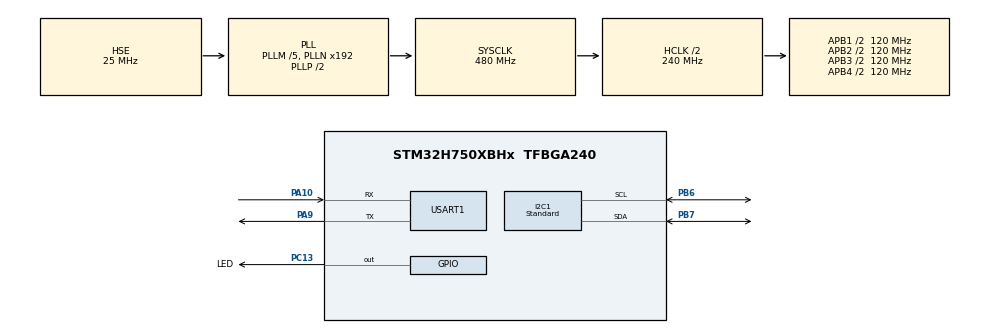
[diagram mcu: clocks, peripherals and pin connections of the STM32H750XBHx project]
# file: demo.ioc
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CORTEX_M7.default_mode_Activation=1
I2C1.CustomTiming=Disabled
I2C1.I2C_Speed_Mode=I2C_Standard
I2C1.Timing=0x307075B1
Mcu.Family=STM32H7
Mcu.Name=STM32H750XBHx
Mcu.Package=TFBGA240
NVIC.PriorityGroup=NVIC_PRIORITYGROUP_4
PA10.Mode=Asynchronous
PA10.Signal=USART1_RX
PA13\ (JTMS/SWDIO).Mode=Serial_Wire
PA13\ (JTMS/SWDIO).Signal=DEBUG_JTMS-SWDIO
PA14\ (JTCK/SWCLK).Mode=Serial_Wire
PA14\ (JTCK/SWCLK).Signal=DEBUG_JTCK-SWCLK
PA9.Mode=Asynchronous
PA9.Signal=USART1_TX
PB6.GPIO_Mode=GPIO_MODE_AF_OD
PB6.GPIO_Pu=GPIO_PULLUP
PB6.GPIO_Speed=GPIO_SPEED_FREQ_VERY_HIGH
PB6.Mode=I2C
PB6.Signal=I2C1_SCL
PB7.GPIO_Mode=GPIO_MODE_AF_OD
PB7.GPIO_Pu=GPIO_PULLUP
PB7.GPIO_Speed=GPIO_SPEED_FREQ_VERY_HIGH
PB7.Mode=I2C
PB7.Signal=I2C1_SDA
PC13.GPIO_Label=LED
PC13.GPIO_PuPd=GPIO_PULLUP
PC13.PinState=GPIO_PIN_SET
PC13.Signal=GPIO_Output
PH0-OSC_IN\ (PH0).Mode=HSE-External-Oscillator
PH0-OSC_IN\ (PH0).Signal=RCC_OSC_IN
PH1-OSC_OUT\ (PH1).Mode=HSE-External-Oscillator
PH1-OSC_OUT\ (PH1).Signal=RCC_OSC_OUT
ProjectManager.HeapSize=0x200
ProjectManager.StackSize=0x400
ProjectManager.TargetToolchain=MDK-ARM V5.32
RCC.ADCFreq_Value=50390625
RCC.APB1Freq_Value=120000000
RCC.APB2Freq_Value=120000000
RCC.APB3Freq_Value=120000000
RCC.APB4Freq_Value=120000000
RCC.CortexFreq_Value=480000000
RCC.D1PPRE=RCC_APB3_DIV2
RCC.D2PPRE1=RCC_APB1_DIV2
RCC.D2PPRE2=RCC_APB2_DIV2
RCC.D3PPRE=RCC_APB4_DIV2
RCC.DIVM1=5
RCC.DIVN1=192
RCC.HCLKFreq_Value=240000000
RCC.HPRE=RCC_HCLK_DIV2
RCC.PLL2FRACN=0
RCC.PLL3FRACN=0
RCC.PLLFRACN=0
RCC.PLLSourceVirtual=RCC_PLLSOURCE_HSE
RCC.PWR_Regulator_Voltage_Scale=PWR_REGULATOR_VOLTAGE_SCALE0
RCC.SYSCLKFreq_VALUE=480000000
RCC.SYSCLKSource=RCC_SYSCLKSOURCE_PLLCLK
RCC.USBFreq_Value=480000000
USART1.VirtualMode-Asynchronous=VM_ASYNC
board=custom

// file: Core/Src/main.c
/* USER CODE BEGIN Header */
/**
 ******************************************************************************
 * @file           : main.c
 * @brief          : Main program body
 ******************************************************************************
 * @attention
 *
 * Copyright (c) 2023 STMicroelectronics.
 * All rights reserved.
 *
 * This software is licensed under terms that can be found in the LICENSE file
 * in the root directory of this software component.
 * If no LICENSE file comes with this software, it is provided AS-IS.
 *
 ******************************************************************************
 */
/* USER CODE END Header */
#include "main.h"
#include "i2c.h"
#include "usart.h"
#include "gpio.h"

/* USER CODE BEGIN Includes */
#include "bsp.h"
#include "shell/port.h"
/* USER CODE END Includes */

void        SystemClock_Config(void);
static void MPU_Config(void);

/* USER CODE BEGIN 0 */

int blink(shell_t* shell, int argc, char** argv)
{
    if (argc != 2)
    {
        shell_info(shell,
                   "Usage: %s STATE\n"
                   " STATE is one of "
                   " - 0: off\n"
                   " - 1: on\n"
                   " - 2: toggle\n",
                   argv[0]);
        return -1;
    }

    uint8_t state = atoi(argv[1]);

    switch (state)
    {
        case 0: {
            LED_OFF();
            break;
        }

        case 1: {
            LED_ON();
            break;
        }
        case 2: {
            LED_TGL();
            break;
        }
    }

    return 0;
}

CMD_EXPORT_FUNC(CMD_TYPE(CMD_TYPE_FUNC_MAIN), led, blink, led control)

int8_t m_log = 0;
CMD_EXPORT_VAR(CMD_TYPE(CMD_TYPE_VAR_INT8) | CMD_VAR_RW(CMD_RW), log, &m_log, say hello world)

/* USER CODE END 0 */

int main(void)
{

    /* MPU Configuration--------------------------------------------------------*/
    MPU_Config();

    /* MCU Configuration--------------------------------------------------------*/

    /* Reset of all peripherals, Initializes the Flash interface and the Systick. */
    HAL_Init();

    /* Configure the system clock */
    SystemClock_Config();

    /* Initialize all configured peripherals */
    MX_GPIO_Init();
    MX_USART1_UART_Init();
    MX_I2C1_Init();
    /* USER CODE BEGIN 2 */
    shell_setup();

    // shell_argtst_exec("10e2");   // int
    // shell_argtst_exec("10e+2");  // int
    // shell_argtst_exec("10e-2");  // fp

    // shell_argtst_exec("0e");    // int = 0
    // shell_argtst_exec("0e6");   // int = 0
    // shell_argtst_exec("0e+6");  // int = 0
    // shell_argtst_exec("0e-6");  // int = 0

    // shell_argtst_exec("00.456e");    // str
    // shell_argtst_exec("00.456e2");   // str
    // shell_argtst_exec("00.456e+2");  // str
    // shell_argtst_exec("00.456e-2");  // str

    // shell_argtst_exec("0.456e");      // str
    // shell_argtst_exec("0.456e2");     // fp
    // shell_argtst_exec("0.456e+2");    // fp
    // shell_argtst_exec("0.456e-2");    // fp
    // shell_argtst_exec("123.456e2");   // fp
    // shell_argtst_exec("123.456e+2");  // fp
    // shell_argtst_exec("123.456e-2");  // fp

    /* USER CODE END 2 */

    /* Infinite loop */
    /* USER CODE BEGIN WHILE */
    while (1)
    {
        shell_task();

        if (m_log)
        {
            m_log = 0;
            shell_log(shell_get(), "hello world\n");
        }

        /* USER CODE END WHILE */

    }
}

void SystemClock_Config(void)
{
    RCC_OscInitTypeDef RCC_OscInitStruct = {0};
    RCC_ClkInitTypeDef RCC_ClkInitStruct = {0};

    /** Supply configuration update enable
     */
    HAL_PWREx_ConfigSupply(PWR_LDO_SUPPLY);

    /** Configure the main internal regulator output voltage
     */
    __HAL_PWR_VOLTAGESCALING_CONFIG(PWR_REGULATOR_VOLTAGE_SCALE1);

    while (!__HAL_PWR_GET_FLAG(PWR_FLAG_VOSRDY)) {}

    __HAL_RCC_SYSCFG_CLK_ENABLE();
    __HAL_PWR_VOLTAGESCALING_CONFIG(PWR_REGULATOR_VOLTAGE_SCALE0);

    while (!__HAL_PWR_GET_FLAG(PWR_FLAG_VOSRDY)) {}

    /** Initializes the RCC Oscillators according to the specified parameters
     * in the RCC_OscInitTypeDef structure.
     */
    RCC_OscInitStruct.OscillatorType = RCC_OSCILLATORTYPE_HSE;
    RCC_OscInitStruct.HSEState       = RCC_HSE_ON;
    RCC_OscInitStruct.PLL.PLLState   = RCC_PLL_ON;
    RCC_OscInitStruct.PLL.PLLSource  = RCC_PLLSOURCE_HSE;
    RCC_OscInitStruct.PLL.PLLM       = 5;
    RCC_OscInitStruct.PLL.PLLN       = 192;
    RCC_OscInitStruct.PLL.PLLP       = 2;
    RCC_OscInitStruct.PLL.PLLQ       = 2;
    RCC_OscInitStruct.PLL.PLLR       = 2;
    RCC_OscInitStruct.PLL.PLLRGE     = RCC_PLL1VCIRANGE_2;
    RCC_OscInitStruct.PLL.PLLVCOSEL  = RCC_PLL1VCOWIDE;
    RCC_OscInitStruct.PLL.PLLFRACN   = 0;
    if (HAL_RCC_OscConfig(&RCC_OscInitStruct) != HAL_OK)
    {
        Error_Handler();
    }

    /** Initializes the CPU, AHB and APB buses clocks
     */
    RCC_ClkInitStruct.ClockType      = RCC_CLOCKTYPE_HCLK | RCC_CLOCKTYPE_SYSCLK | RCC_CLOCKTYPE_PCLK1 | RCC_CLOCKTYPE_PCLK2 | RCC_CLOCKTYPE_D3PCLK1 | RCC_CLOCKTYPE_D1PCLK1;
    RCC_ClkInitStruct.SYSCLKSource   = RCC_SYSCLKSOURCE_PLLCLK;
    RCC_ClkInitStruct.SYSCLKDivider  = RCC_SYSCLK_DIV1;
    RCC_ClkInitStruct.AHBCLKDivider  = RCC_HCLK_DIV2;
    RCC_ClkInitStruct.APB3CLKDivider = RCC_APB3_DIV2;
    RCC_ClkInitStruct.APB1CLKDivider = RCC_APB1_DIV2;
    RCC_ClkInitStruct.APB2CLKDivider = RCC_APB2_DIV2;
    RCC_ClkInitStruct.APB4CLKDivider = RCC_APB4_DIV2;

    if (HAL_RCC_ClockConfig(&RCC_ClkInitStruct, FLASH_LATENCY_4) != HAL_OK)
    {
        Error_Handler();
    }
}

/* MPU Configuration */

void MPU_Config(void)
{
    MPU_Region_InitTypeDef MPU_InitStruct = {0};

    /* Disables the MPU */
    HAL_MPU_Disable();

    /** Initializes and configures the Region and the memory to be protected
     */
    MPU_InitStruct.Enable           = MPU_REGION_ENABLE;
    MPU_InitStruct.Number           = MPU_REGION_NUMBER0;
    MPU_InitStruct.BaseAddress      = 0x0;
    MPU_InitStruct.Size             = MPU_REGION_SIZE_4GB;
    MPU_InitStruct.SubRegionDisable = 0x87;
    MPU_InitStruct.TypeExtField     = MPU_TEX_LEVEL0;
    MPU_InitStruct.AccessPermission = MPU_REGION_NO_ACCESS;
    MPU_InitStruct.DisableExec      = MPU_INSTRUCTION_ACCESS_DISABLE;
    MPU_InitStruct.IsShareable      = MPU_ACCESS_SHAREABLE;
    MPU_InitStruct.IsCacheable      = MPU_ACCESS_NOT_CACHEABLE;
    MPU_InitStruct.IsBufferable     = MPU_ACCESS_NOT_BUFFERABLE;

    HAL_MPU_ConfigRegion(&MPU_InitStruct);
    /* Enables the MPU */
    HAL_MPU_Enable(MPU_PRIVILEGED_DEFAULT);
}

void Error_Handler(void)
{
    __disable_irq();
    while (1)
    {
    }
}
